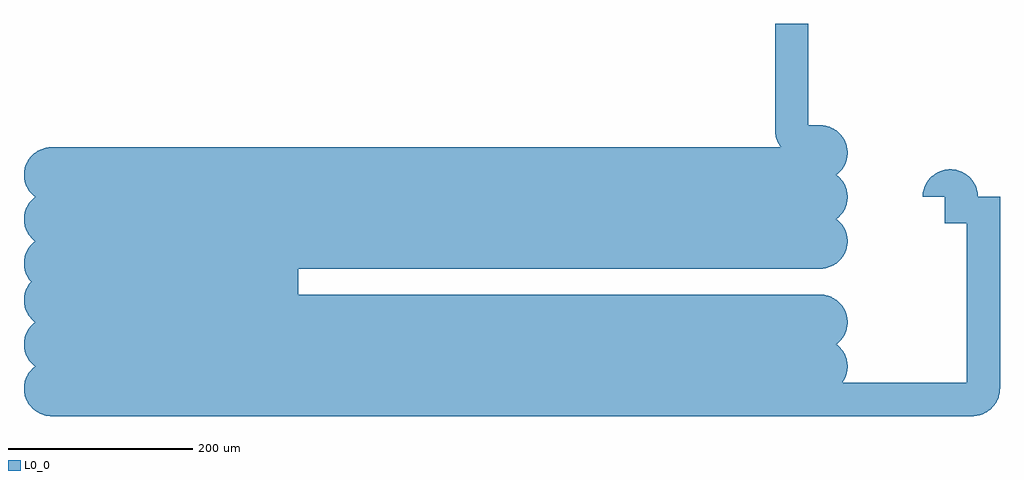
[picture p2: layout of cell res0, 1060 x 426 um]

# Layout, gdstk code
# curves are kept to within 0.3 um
import gdstk
lib = gdstk.Library(unit=1e-6, precision=1e-09)
def P(c, l, *ps):  # polygons
    for p in ps: c.add(gdstk.Polygon(p, *l))
L0_0 = (0, 0)

res0 = lib.new_cell('res0')
P(res0, L0_0, [(1311.926,2798.294),(1307.729,2793.634),(1304.594,2788.202),(1302.656,2782.237),(1302,2776),(1302.656,2769.763),(1304.594,2763.798),(1307.729,2758.366),(1311.926,2753.706)],
  [(1311.926,2750.294),(1307.729,2745.634),(1304.594,2740.202),(1302.656,2734.237),(1302,2728),(1302.656,2721.763),(1304.594,2715.798),(1307.729,2710.366),(1311.926,2705.706)],
  [(1311.926,2702.294),(1307.729,2697.634),(1304.594,2692.202),(1302.656,2686.237),(1302,2680),(1302.369,2675.307),(1303.993,2669.249),(1306.019,2665),(1309.643,2660),(1305.27,2653.62),(1303.022,2647.765),(1302.041,2641.57),(1302.369,2635.307),(1303.468,2630.729),(1306.019,2625),(1308.686,2621.12),(1311.926,2617.706)],
  [(1311.926,2614.294),(1307.729,2609.634),(1304.594,2604.202),(1302.656,2598.237),(1302,2592),(1302.656,2585.763),(1304.594,2579.798),(1307.729,2574.366),(1311.926,2569.706)],
  [(1311.926,2566.294),(1307.729,2561.634),(1304.594,2556.202),(1302.656,2550.237),(1302,2544),(1302.656,2537.763),(1304.594,2531.798),(1307.729,2526.366),(1311.926,2521.706)],
  [(2193.169,2550),(2190.429,2550),(2193.169,2554.38),(2193.169,2581.62),(2189.754,2586.88),(2184.426,2592),(2189.754,2597.12),(2193.169,2602.38),(2193.169,2629.62),(2189.754,2634.88),(2184.073,2640.271),(2177.19,2644.007),(2171.132,2645.631),(2166.439,2646),(1600,2646),(1600,2674),(2166.439,2674),(2174.204,2675.022),(2180.059,2677.27),(2184.073,2679.729),(2187.652,2682.787),(2190.71,2686.366),(2193.169,2690.38),(2193.169,2717.62),(2189.754,2722.88),(2184.426,2728),(2189.754,2733.12),(2193.169,2738.38),(2193.169,2765.62),(2189.754,2770.88),(2184.426,2776),(2189.754,2781.12),(2193.169,2786.38),(2193.169,2813.62),(2189.754,2818.88),(2186.513,2822.294),(2182.778,2825.16),(2178.641,2827.406),(2174.204,2828.978),(2169.575,2829.836),(2154.002,2830),(2154.002,2940),(2118.002,2940),(2118.046,2822.376),(2119.573,2814.421),(2121.497,2809.948),(2124.008,2806),(1332,2806),(1327.307,2805.631),(1321.249,2804.007),(1317,2801.981),(1311.926,2798.294),(1311.926,2753.706),(1314.013,2752),(1311.926,2750.294),(1311.926,2705.706),(1314.013,2704),(1311.926,2702.294),(1311.926,2617.706),(1314.013,2616),(1311.926,2614.294),(1311.926,2569.706),(1314.013,2568),(1311.926,2566.294),(1311.926,2521.706),(1317,2518.019),(1324.235,2515.022),(1332,2514),(2193.169,2514)],
  [(2193.846,2787.798),(2195.784,2793.763),(2196.275,2796.864),(2196.398,2801.57),(2195.417,2807.765),(2193.169,2813.62),(2193.169,2786.38)],
  [(2333.624,2514.044),(2338.449,2514.701),(2344.597,2516.773),(2348.836,2519.169),(2352.631,2522.22),(2356.831,2527.164),(2359.227,2531.403),(2360.906,2535.974),(2361.824,2540.756),(2362,2752),(2338,2752),(2337.344,2758.237),(2335.406,2764.202),(2332.271,2769.634),(2328.074,2774.294),(2323,2777.981),(2317.271,2780.532),(2311.136,2781.836),(2304.864,2781.836),(2298.729,2780.532),(2294.38,2778.73),(2290.366,2776.271),(2285.706,2772.074),(2282.019,2767),(2279.993,2762.751),(2278.369,2756.693),(2278,2752),(2302,2752),(2302,2723.726),(2326,2723.726),(2326,2550),(2193.169,2550),(2193.169,2514)],
  [(2193.846,2739.798),(2195.784,2745.763),(2196.275,2748.864),(2196.398,2753.57),(2195.417,2759.765),(2193.169,2765.62),(2193.169,2738.38)],
  [(2193.846,2691.798),(2195.784,2697.763),(2196.275,2700.864),(2196.398,2705.57),(2195.417,2711.765),(2193.169,2717.62),(2193.169,2690.38)],
  [(2193.846,2603.798),(2195.784,2609.763),(2196.275,2612.864),(2196.398,2617.57),(2195.417,2623.765),(2193.169,2629.62),(2193.169,2602.38)],
  [(2193.846,2555.798),(2195.784,2561.763),(2196.275,2564.864),(2196.398,2569.57),(2195.417,2575.765),(2193.169,2581.62),(2193.169,2554.38)])

lib.write_gds('res0.gds')
